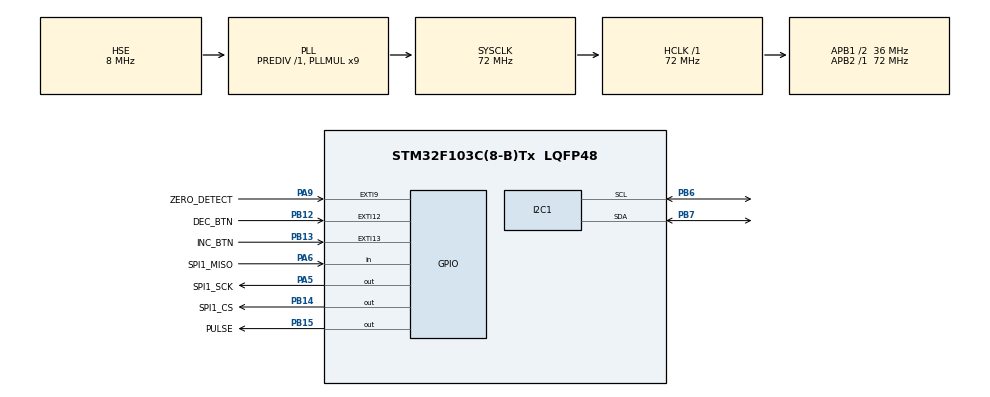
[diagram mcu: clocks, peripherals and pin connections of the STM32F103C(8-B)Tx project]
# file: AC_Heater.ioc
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Mcu.Family=STM32F1
RCC.PLLSourceVirtual=RCC_PLLSOURCE_HSE
PD1-OSC_OUT.Mode=HSE-External-Oscillator
PA9.GPIO_Label=ZERO_DETECT
PB14.GPIO_Label=SPI1_CS
PA6.GPIO_Label=SPI1_MISO
PD0-OSC_IN.Signal=RCC_OSC_IN
RCC.APB1CLKDivider=RCC_HCLK_DIV2
PB13.GPIO_Label=INC_BTN
PB13.Signal=GPXTI13
PB15.Signal=GPIO_Output
PB13.GPIO_ModeDefaultEXTI=GPIO_MODE_IT_RISING
RCC.SYSCLKSource=RCC_SYSCLKSOURCE_PLLCLK
ProjectManager.StackSize=0x400
PD1-OSC_OUT.Signal=RCC_OSC_OUT
PA13.Signal=SYS_JTMS-SWDIO
ProjectManager.TargetToolchain=MDK-ARM V5.27
I2C1.I2C_Mode=I2C_Standard
RCC.HCLKFreq_Value=72000000
RCC.APB2TimFreq_Value=72000000
PA9.Signal=GPXTI9
PB6.Signal=I2C1_SCL
PB6.Mode=I2C
RCC.USBFreq_Value=72000000
RCC.AHBFreq_Value=72000000
PD0-OSC_IN.Mode=HSE-External-Oscillator
NVIC.EXTI15_10_IRQn=true\:0\:0\:false\:false\:true\:true\:true
PB14.Signal=GPIO_Output
PA5.Signal=GPIO_Output
board=custom
RCC.PLLMUL=RCC_PLL_MUL9
PB12.GPIO_Label=DEC_BTN
RCC.APB2Freq_Value=72000000
PB15.GPIO_Label=PULSE
PA14.Mode=Serial_Wire
PB7.Signal=I2C1_SDA
PA13.Mode=Serial_Wire
Mcu.Name=STM32F103C(8-B)Tx
RCC.SYSCLKFreq_VALUE=72000000
Mcu.Package=LQFP48
PA6.Signal=GPIO_Input
PA5.GPIO_Label=SPI1_SCK
PB7.Mode=I2C
NVIC.EXTI9_5_IRQn=true\:0\:0\:false\:false\:true\:true\:true
PA14.Signal=SYS_JTCK-SWCLK
ProjectManager.HeapSize=0x200
PB12.GPIO_ModeDefaultEXTI=GPIO_MODE_IT_RISING
NVIC.PriorityGroup=NVIC_PRIORITYGROUP_4
PA9.GPIO_ModeDefaultEXTI=GPIO_MODE_IT_FALLING
RCC.APB1TimFreq_Value=72000000
RCC.APB1Freq_Value=36000000
PB12.Signal=GPXTI12

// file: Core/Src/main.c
/* USER CODE BEGIN Header */
/**
  ******************************************************************************
  * @file           : main.c
  * @brief          : Main program body
  ******************************************************************************
  * @attention
  *
  * <h2><center>&copy; Copyright (c) 2022 STMicroelectronics.
  * All rights reserved.</center></h2>
  *
  * This software component is licensed by ST under BSD 3-Clause license,
  * the "License"; You may not use this file except in compliance with the
  * License. You may obtain a copy of the License at:
  *                        opensource.org/licenses/BSD-3-Clause
  *
  ******************************************************************************
  */
/* USER CODE END Header */
#include "main.h"

/* USER CODE BEGIN PD */
#define	KP	203.0
#define	KI	7.2
#define	KD	1.04
#define MAX_PID	7400		// 7400us
#define MIN_PID	0
/* USER CODE END PD */

I2C_HandleTypeDef hi2c1;

/* USER CODE BEGIN PV */
float temp = 0, target_temp = 45;
float P = 0, I = 0, D = 0, PID = 0, error, prev_error;
uint8_t zero_detect = 0, lcd_update = 0;
uint32_t timer_500ms, pid_time, timer_inc_btn, timer_dec_btn;
char tmp[20];
/* USER CODE END PV */

void SystemClock_Config(void);
static void MX_GPIO_Init(void);
static void MX_I2C1_Init(void);
/* USER CODE BEGIN PFP */
void HAL_GPIO_EXTI_Callback(uint16_t GPIO_Pin);
void PID_Controller(void);
/* USER CODE END PFP */

int main(void)
{

  /* MCU Configuration--------------------------------------------------------*/

  /* Reset of all peripherals, Initializes the Flash interface and the Systick. */
  HAL_Init();

  /* Configure the system clock */
  SystemClock_Config();

  /* Initialize all configured peripherals */
  MX_GPIO_Init();
  MX_I2C1_Init();
  /* USER CODE BEGIN 2 */
	lcd_init(&hi2c1);
	lcd_send_string("AC Heater");
	HAL_Delay(2000);		// delay 2sec
	lcd_clear();
	lcd_send_string("Temp: ");

	dwt_init();
	timer_500ms = 0;
	pid_time = 0;
	timer_inc_btn = 0;
	timer_dec_btn = 0;
  /* USER CODE END 2 */

  /* Infinite loop */
  /* USER CODE BEGIN WHILE */
  while (1)
  {
		if(get_millis() - timer_500ms >= 500){
			temp = max6675_get_temp();
			lcd_update = 1;
			PID_Controller();
			timer_500ms = get_millis();
		}
		if(lcd_update == 1){
			lcd_goto_xy(6, 0);
			sprintf(tmp, "%.0f     ", temp);
			lcd_send_string(tmp);
			lcd_goto_xy(11, 0);
			sprintf(tmp, "%.0f     ", target_temp);
			lcd_send_string(tmp);
			lcd_update = 0;
		}
		if(zero_detect == 1){
			delay_us((uint64_t)PID);
			HAL_GPIO_WritePin(PULSE_GPIO_Port, PULSE_Pin, GPIO_PIN_SET);
			delay_us(100);
			HAL_GPIO_WritePin(PULSE_GPIO_Port, PULSE_Pin, GPIO_PIN_RESET);
			zero_detect = 0;
		}
    /* USER CODE END WHILE */

  }
}

void SystemClock_Config(void)
{
  RCC_OscInitTypeDef RCC_OscInitStruct = {0};
  RCC_ClkInitTypeDef RCC_ClkInitStruct = {0};

  /** Initializes the RCC Oscillators according to the specified parameters
  * in the RCC_OscInitTypeDef structure.
  */
  RCC_OscInitStruct.OscillatorType = RCC_OSCILLATORTYPE_HSE;
  RCC_OscInitStruct.HSEState = RCC_HSE_ON;
  RCC_OscInitStruct.HSEPredivValue = RCC_HSE_PREDIV_DIV1;
  RCC_OscInitStruct.HSIState = RCC_HSI_ON;
  RCC_OscInitStruct.PLL.PLLState = RCC_PLL_ON;
  RCC_OscInitStruct.PLL.PLLSource = RCC_PLLSOURCE_HSE;
  RCC_OscInitStruct.PLL.PLLMUL = RCC_PLL_MUL9;
  if (HAL_RCC_OscConfig(&RCC_OscInitStruct) != HAL_OK)
  {
    Error_Handler();
  }
  /** Initializes the CPU, AHB and APB buses clocks
  */
  RCC_ClkInitStruct.ClockType = RCC_CLOCKTYPE_HCLK|RCC_CLOCKTYPE_SYSCLK
                              |RCC_CLOCKTYPE_PCLK1|RCC_CLOCKTYPE_PCLK2;
  RCC_ClkInitStruct.SYSCLKSource = RCC_SYSCLKSOURCE_PLLCLK;
  RCC_ClkInitStruct.AHBCLKDivider = RCC_SYSCLK_DIV1;
  RCC_ClkInitStruct.APB1CLKDivider = RCC_HCLK_DIV2;
  RCC_ClkInitStruct.APB2CLKDivider = RCC_HCLK_DIV1;

  if (HAL_RCC_ClockConfig(&RCC_ClkInitStruct, FLASH_LATENCY_2) != HAL_OK)
  {
    Error_Handler();
  }
}

static void MX_I2C1_Init(void)
{

  hi2c1.Instance = I2C1;
  hi2c1.Init.ClockSpeed = 100000;
  hi2c1.Init.DutyCycle = I2C_DUTYCYCLE_2;
  hi2c1.Init.OwnAddress1 = 0;
  hi2c1.Init.AddressingMode = I2C_ADDRESSINGMODE_7BIT;
  hi2c1.Init.DualAddressMode = I2C_DUALADDRESS_DISABLE;
  hi2c1.Init.OwnAddress2 = 0;
  hi2c1.Init.GeneralCallMode = I2C_GENERALCALL_DISABLE;
  hi2c1.Init.NoStretchMode = I2C_NOSTRETCH_DISABLE;
  if (HAL_I2C_Init(&hi2c1) != HAL_OK)
  {
    Error_Handler();
  }

}

static void MX_GPIO_Init(void)
{
  GPIO_InitTypeDef GPIO_InitStruct = {0};

  /* GPIO Ports Clock Enable */
  __HAL_RCC_GPIOD_CLK_ENABLE();
  __HAL_RCC_GPIOA_CLK_ENABLE();
  __HAL_RCC_GPIOB_CLK_ENABLE();

  /*Configure GPIO pin Output Level */
  HAL_GPIO_WritePin(SPI1_SCK_GPIO_Port, SPI1_SCK_Pin, GPIO_PIN_RESET);

  /*Configure GPIO pin Output Level */
  HAL_GPIO_WritePin(GPIOB, SPI1_CS_Pin|PULSE_Pin, GPIO_PIN_RESET);

  /*Configure GPIO pin : SPI1_SCK_Pin */
  GPIO_InitStruct.Pin = SPI1_SCK_Pin;
  GPIO_InitStruct.Mode = GPIO_MODE_OUTPUT_PP;
  GPIO_InitStruct.Pull = GPIO_NOPULL;
  GPIO_InitStruct.Speed = GPIO_SPEED_FREQ_LOW;
  HAL_GPIO_Init(SPI1_SCK_GPIO_Port, &GPIO_InitStruct);

  /*Configure GPIO pin : SPI1_MISO_Pin */
  GPIO_InitStruct.Pin = SPI1_MISO_Pin;
  GPIO_InitStruct.Mode = GPIO_MODE_INPUT;
  GPIO_InitStruct.Pull = GPIO_NOPULL;
  HAL_GPIO_Init(SPI1_MISO_GPIO_Port, &GPIO_InitStruct);

  /*Configure GPIO pins : DEC_BTN_Pin INC_BTN_Pin */
  GPIO_InitStruct.Pin = DEC_BTN_Pin|INC_BTN_Pin;
  GPIO_InitStruct.Mode = GPIO_MODE_IT_RISING;
  GPIO_InitStruct.Pull = GPIO_NOPULL;
  HAL_GPIO_Init(GPIOB, &GPIO_InitStruct);

  /*Configure GPIO pins : SPI1_CS_Pin PULSE_Pin */
  GPIO_InitStruct.Pin = SPI1_CS_Pin|PULSE_Pin;
  GPIO_InitStruct.Mode = GPIO_MODE_OUTPUT_PP;
  GPIO_InitStruct.Pull = GPIO_NOPULL;
  GPIO_InitStruct.Speed = GPIO_SPEED_FREQ_LOW;
  HAL_GPIO_Init(GPIOB, &GPIO_InitStruct);

  /*Configure GPIO pin : ZERO_DETECT_Pin */
  GPIO_InitStruct.Pin = ZERO_DETECT_Pin;
  GPIO_InitStruct.Mode = GPIO_MODE_IT_FALLING;
  GPIO_InitStruct.Pull = GPIO_NOPULL;
  HAL_GPIO_Init(ZERO_DETECT_GPIO_Port, &GPIO_InitStruct);

  /* EXTI interrupt init*/
  HAL_NVIC_SetPriority(EXTI9_5_IRQn, 0, 0);
  HAL_NVIC_EnableIRQ(EXTI9_5_IRQn);

  HAL_NVIC_SetPriority(EXTI15_10_IRQn, 0, 0);
  HAL_NVIC_EnableIRQ(EXTI15_10_IRQn);

}

/* USER CODE BEGIN 4 */
void HAL_GPIO_EXTI_Callback(uint16_t GPIO_Pin){
	if(GPIO_Pin == ZERO_DETECT_Pin){
		zero_detect = 1;
	}
	else if(GPIO_Pin == INC_BTN_Pin){		// increase the target temp
		if(get_millis() - timer_inc_btn >= 200){		// debouncing
			target_temp += 1.0;
			lcd_update = 1;
			timer_inc_btn = get_millis();
		}
	}
	else if(GPIO_Pin == DEC_BTN_Pin){		// decrease the target temp
		if(get_millis() - timer_dec_btn >= 200 && target_temp >= 1.0){	// debouncing
			target_temp -= 1.0;
			lcd_update = 1;
			timer_dec_btn = get_millis();
		}
	}
}

void PID_Controller(void){
	error = target_temp - temp;

	if(fabs(error) <= 0.5){
		I = 0;
		PID = 0;
		return;
	}

	P = KP * error;

	if(error > 30){
		I = 0;
	}
	I += KI * error;

	D = KD * ((error - prev_error) / ((get_millis() - pid_time) / 1000.0));

	PID = P + I + D;
	if(PID > MAX_PID){
		PID = MAX_PID;
	}
	else if(PID < MIN_PID){
		PID = MIN_PID;
	}

	pid_time = get_millis();
	prev_error = error;
}
/* USER CODE END 4 */

void Error_Handler(void)
{
  __disable_irq();
  while (1)
  {
  }
}

/************************ (C) COPYRIGHT STMicroelectronics *****END OF FILE****/
